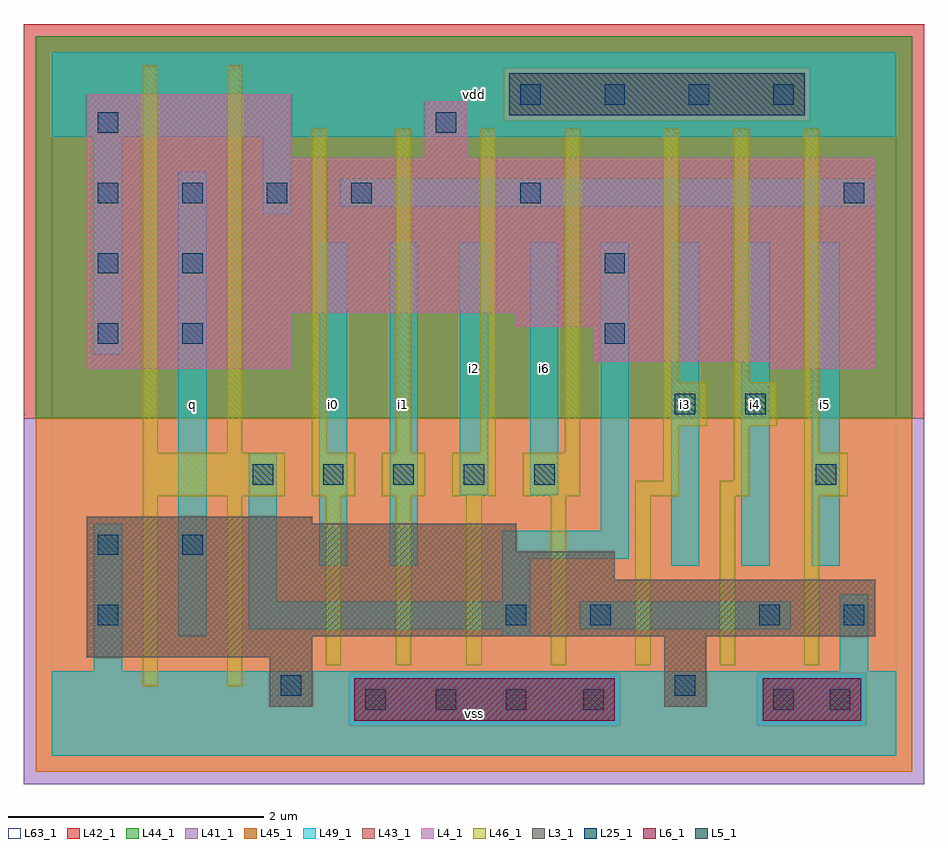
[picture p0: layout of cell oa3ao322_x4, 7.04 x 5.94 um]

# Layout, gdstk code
import gdstk
lib = gdstk.Library(unit=1e-6, precision=1e-09)
def R(c, l, rs):  # rectangles x0, y0, x1, y1
    for r in rs: c.add(gdstk.rectangle(r[:2], r[2:], *l))
def A(c, l, x, y, w, h, nx, ny, dx, dy):  # array of equal rectangles
    R(c, l, [(x+i*dx, y+j*dy, x+i*dx+w, y+j*dy+h) for i in range(nx) for j in range(ny)])
L3_1 = (3, 1)
L4_1 = (4, 1)
L5_1 = (5, 1)
L6_1 = (6, 1)
L25_1 = (25, 1)
L41_1 = (41, 1)
L42_1 = (42, 1)
L43_1 = (43, 1)
L44_1 = (44, 1)
L45_1 = (45, 1)
L46_1 = (46, 1)
L49_1 = (49, 1)
L63_1 = (63, 1)

oa3ao322_x4 = lib.new_cell('oa3ao322_x4')
R(oa3ao322_x4, L3_1, [(1.705,0.385,2.035,0.77), (4.785,0.385,5.115,0.935), (0.275,0.77,2.035,0.935), (0.275,0.935,6.435,1.375), (0.275,1.375,4.4,1.595), (0.275,1.595,3.63,1.815), (0.275,1.815,2.035,1.87)])
R(oa3ao322_x4, L4_1, [(0.275,3.025,1.87,3.465), (5.61,3.025,6.435,3.08), (4.235,3.08,6.435,3.355), (3.63,3.355,6.435,3.465), (0.275,3.465,6.435,4.675), (0.275,4.675,1.87,5.17), (2.915,4.675,3.245,5.115)])
R(oa3ao322_x4, L5_1, [(3.575,5.005,5.885,5.335)])
R(oa3ao322_x4, L6_1, [(2.365,0.275,4.4,0.605), (5.555,0.275,6.325,0.605)])
A(oa3ao322_x4, L25_1, 2.45, 0.36, 0.16, 0.16, 3, 1, 0.55, 0)
A(oa3ao322_x4, L25_1, 1.57, 2.12, 0.16, 0.16, 5, 1, 0.55, 0)
A(oa3ao322_x4, L25_1, 0.36, 4.32, 0.16, 0.16, 4, 1, 0.66, 0)
A(oa3ao322_x4, L25_1, 3.66, 5.09, 0.16, 0.16, 4, 1, 0.66, 0)
R(oa3ao322_x4, L25_1, [(4.155,0.36,4.315,0.52), (5.64,0.36,5.8,0.52), (6.08,0.36,6.24,0.52), (1.79,0.47,1.95,0.63), (4.87,0.47,5.03,0.63), (0.36,1.02,0.52,1.18), (3.55,1.02,3.71,1.18), (4.21,1.02,4.37,1.18), (5.53,1.02,5.69,1.18), (6.19,1.02,6.35,1.18), (0.36,1.57,0.52,1.73), (1.02,1.57,1.18,1.73), (5.97,2.12,6.13,2.28), (4.87,2.67,5.03,2.83), (5.42,2.67,5.58,2.83), (0.36,3.22,0.52,3.38), (1.02,3.22,1.18,3.38), (4.32,3.22,4.48,3.38), (0.36,3.77,0.52,3.93), (1.02,3.77,1.18,3.93), (4.32,3.77,4.48,3.93), (3.66,4.32,3.82,4.48), (6.19,4.32,6.35,4.48), (0.36,4.87,0.52,5.03), (3,4.87,3.16,5.03)])
R(oa3ao322_x4, L41_1, [(-0.22,-0.22,6.82,2.64)])
R(oa3ao322_x4, L42_1, [(-0.22,2.64,6.82,5.72)])
R(oa3ao322_x4, L43_1, [(2.365,0.275,4.4,0.605), (5.555,0.275,6.325,0.605), (1.705,0.385,2.035,0.77), (4.785,0.385,5.115,0.935), (0.275,0.77,2.035,0.935), (0.275,0.935,6.435,1.375), (0.275,1.375,4.4,1.595), (0.275,1.595,3.63,1.815), (0.275,1.815,2.035,1.87), (0.275,3.025,1.87,3.465), (5.61,3.025,6.435,3.08), (4.235,3.08,6.435,3.355), (3.63,3.355,6.435,3.465), (0.275,3.465,6.435,4.675), (0.275,4.675,1.87,5.17), (2.915,4.675,3.245,5.115), (3.575,5.005,5.885,5.335)])
R(oa3ao322_x4, L44_1, [(2.325,0.235,4.44,0.645), (5.515,0.235,6.365,0.645), (-0.125,2.64,6.725,4.965), (-0.125,4.965,3.535,5.375), (5.925,4.965,6.725,5.375), (-0.125,5.375,6.725,5.625)])
R(oa3ao322_x4, L45_1, [(-0.125,-0.125,6.725,0.235), (-0.125,0.235,2.325,0.645), (4.44,0.235,5.515,0.645), (6.365,0.235,6.725,0.645), (-0.125,0.645,6.725,2.64), (3.535,4.965,5.925,5.375)])
A(oa3ao322_x4, L46_1, 2.14, 0.71, 0.12, 1.32, 3, 1, 0.55, 0)
A(oa3ao322_x4, L46_1, 3.9, 0.71, 0.12, 1.32, 4, 1, 0.66, 0)
A(oa3ao322_x4, L46_1, 2.03, 2.03, 0.34, 0.34, 3, 1, 0.55, 0)
A(oa3ao322_x4, L46_1, 2.03, 2.37, 0.12, 2.53, 4, 1, 0.66, 0)
R(oa3ao322_x4, L46_1, [(0.71,0.545,0.83,2.03), (1.37,0.545,1.49,2.03), (0.71,2.03,1.82,2.37), (3.68,2.03,4.13,2.37), (4.56,2.03,4.9,2.15), (5.22,2.03,5.45,2.15), (5.88,2.03,6.22,2.37), (4.78,2.15,4.9,2.58), (5.33,2.15,5.45,2.58), (0.71,2.37,0.83,5.395), (1.37,2.37,1.49,5.395), (5.88,2.37,6,4.9), (4.78,2.58,5.12,2.92), (5.33,2.58,5.67,2.92), (4.78,2.92,4.9,4.9), (5.33,2.92,5.45,4.9)])
A(oa3ao322_x4, L49_1, 4.84, 1.485, 0.22, 2.53, 3, 1, 0.55, 0)
R(oa3ao322_x4, L49_1, [(0,0,6.6,0.66), (0.33,0.66,0.55,1.815), (6.16,0.66,6.38,1.265), (0.99,0.935,1.21,4.565), (3.52,0.935,3.74,0.99), (1.54,0.99,3.74,1.21), (4.125,0.99,5.775,1.21), (1.54,1.21,1.76,2.365), (3.52,1.21,3.74,1.54), (2.09,1.485,2.31,4.015), (2.64,1.485,2.86,4.015), (3.52,1.54,4.51,1.76), (4.29,1.76,4.51,4.015), (3.19,2.035,3.41,4.015), (3.74,2.035,3.96,4.015), (0.33,3.135,0.55,4.84), (1.65,4.235,1.87,4.84), (2.255,4.29,6.435,4.51), (0,4.84,6.6,5.5)])
R(oa3ao322_x4, L63_1, [(0,0,6.6,5.5)])
oa3ao322_x4.add(gdstk.Label('q', (1.1,2.75), layer=49, texttype=1))
oa3ao322_x4.add(gdstk.Label('i0', (2.2,2.75), layer=49, texttype=1))
oa3ao322_x4.add(gdstk.Label('vss', (3.3,0.33), layer=49, texttype=1))
oa3ao322_x4.add(gdstk.Label('i1', (2.75,2.75), layer=49, texttype=1))
oa3ao322_x4.add(gdstk.Label('i2', (3.3,3.025), layer=49, texttype=1))
oa3ao322_x4.add(gdstk.Label('vdd', (3.3,5.17), layer=49, texttype=1))
oa3ao322_x4.add(gdstk.Label('i6', (3.85,3.025), layer=49, texttype=1))
oa3ao322_x4.add(gdstk.Label('i3', (4.95,2.75), layer=49, texttype=1))
oa3ao322_x4.add(gdstk.Label('i4', (5.5,2.75), layer=49, texttype=1))
oa3ao322_x4.add(gdstk.Label('i5', (6.05,2.75), layer=49, texttype=1))

lib.write_gds('oa3ao322_x4.gds')
